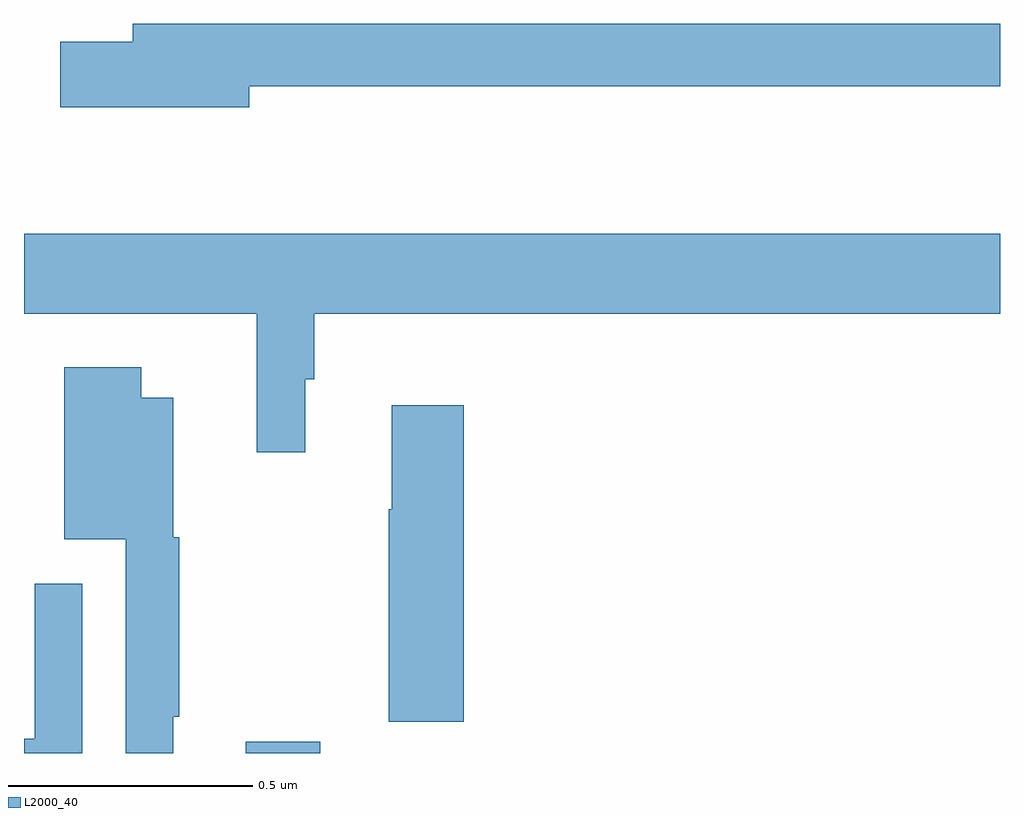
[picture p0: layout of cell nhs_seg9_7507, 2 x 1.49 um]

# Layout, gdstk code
import gdstk
lib = gdstk.Library(unit=1e-6, precision=1e-09)
def R(c, l, rs):  # rectangles x0, y0, x1, y1
    for r in rs: c.add(gdstk.rectangle(r[:2], r[2:], *l))
def P(c, l, *ps):  # polygons
    for p in ps: c.add(gdstk.Polygon(p, *l))
L2000_40 = (2000, 40)

nhs_seg9_7507 = lib.new_cell('nhs_seg9_7507')
R(nhs_seg9_7507, L2000_40, [(205.454,1215.5,205.607,1215.523)])
P(nhs_seg9_7507, L2000_40, [(205.462,1216.866),(207,1216.866),(207,1216.994),(205.223,1216.994),(205.223,1216.958),(205.074,1216.958),(205.074,1216.823),(205.462,1216.823)],
  [(205.576,1216.266),(205.595,1216.266),(205.595,1216.4),(207,1216.4),(207,1216.564),(205,1216.564),(205,1216.4),(205.477,1216.4),(205.477,1216.116),(205.576,1216.116)],
  [(205.306,1215.574),(205.318,1215.574),(205.318,1215.942),(205.306,1215.942),(205.306,1216.228),(205.24,1216.228),(205.24,1216.291),(205.082,1216.291),(205.082,1215.938),(205.209,1215.938),(205.209,1215.5),(205.306,1215.5)],
  [(205.901,1216.213),(205.754,1216.213),(205.754,1216),(205.747,1216),(205.747,1215.564),(205.901,1215.564)],
  [(205.119,1215.847),(205.022,1215.847),(205.022,1215.529),(205,1215.529),(205,1215.5),(205.119,1215.5)])

lib.write_gds('nhs_seg9_7507.gds')
